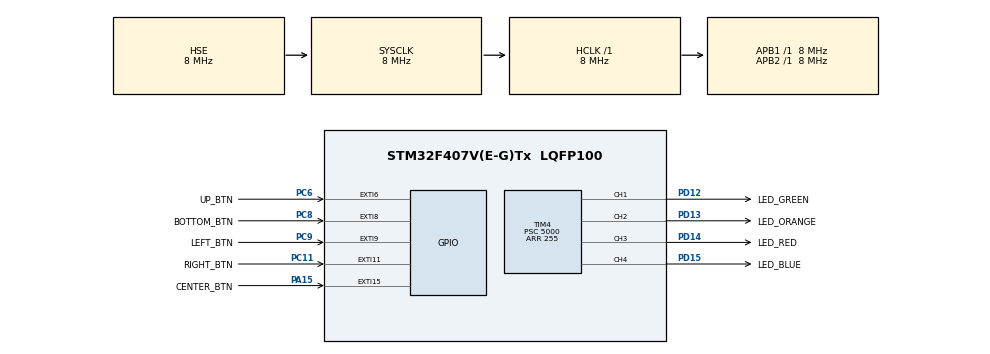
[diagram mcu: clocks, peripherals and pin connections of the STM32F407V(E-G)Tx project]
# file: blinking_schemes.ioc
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Mcu.Family=STM32F4
Mcu.Name=STM32F407V(E-G)Tx
Mcu.Package=LQFP100
NVIC.EXTI15_10_IRQn=true\:0\:0\:false\:false\:true\:true\:true\:true
NVIC.EXTI9_5_IRQn=true\:0\:0\:false\:false\:true\:true\:true\:true
NVIC.PriorityGroup=NVIC_PRIORITYGROUP_4
NVIC.TIM4_IRQn=true\:0\:0\:false\:false\:true\:true\:true\:true
PA15.GPIO_Label=CENTER_BTN
PA15.GPIO_ModeDefaultEXTI=GPIO_MODE_IT_FALLING
PA15.Signal=GPXTI15
PC11.GPIO_Label=RIGHT_BTN
PC11.GPIO_ModeDefaultEXTI=GPIO_MODE_IT_FALLING
PC11.Signal=GPXTI11
PC6.GPIO_Label=UP_BTN
PC6.GPIO_ModeDefaultEXTI=GPIO_MODE_IT_FALLING
PC6.Signal=GPXTI6
PC8.GPIO_Label=BOTTOM_BTN
PC8.GPIO_ModeDefaultEXTI=GPIO_MODE_IT_FALLING
PC8.Signal=GPXTI8
PC9.GPIO_Label=LEFT_BTN
PC9.GPIO_ModeDefaultEXTI=GPIO_MODE_IT_FALLING
PC9.Signal=GPXTI9
PD12.GPIO_Label=LED_GREEN
PD12.Signal=S_TIM4_CH1
PD13.GPIO_Label=LED_ORANGE
PD13.Signal=S_TIM4_CH2
PD14.GPIO_Label=LED_RED
PD14.Signal=S_TIM4_CH3
PD15.GPIO_Label=LED_BLUE
PD15.Signal=S_TIM4_CH4
PH0-OSC_IN.Mode=HSE-External-Oscillator
PH0-OSC_IN.Signal=RCC_OSC_IN
PH1-OSC_OUT.Mode=HSE-External-Oscillator
PH1-OSC_OUT.Signal=RCC_OSC_OUT
ProjectManager.HeapSize=0x200
ProjectManager.StackSize=0x400
ProjectManager.TargetToolchain=STM32CubeIDE
RCC.48MHZClocksFreq_Value=24000000
RCC.AHBFreq_Value=8000000
RCC.APB1Freq_Value=8000000
RCC.APB1TimFreq_Value=8000000
RCC.APB2Freq_Value=8000000
RCC.APB2TimFreq_Value=8000000
RCC.CortexFreq_Value=8000000
RCC.HCLKFreq_Value=8000000
RCC.HSE_VALUE=8000000
RCC.HSI_VALUE=16000000
RCC.LSE_VALUE=32768
RCC.PLLSourceVirtual=RCC_PLLSOURCE_HSE
RCC.SYSCLKFreq_VALUE=8000000
RCC.SYSCLKSource=RCC_SYSCLKSOURCE_HSE
RCC.VCOOutputFreq_Value=96000000
SH.S_TIM4_CH1.0=TIM4_CH1,PWM Generation1 CH1
SH.S_TIM4_CH2.0=TIM4_CH2,PWM Generation2 CH2
SH.S_TIM4_CH3.0=TIM4_CH3,PWM Generation3 CH3
SH.S_TIM4_CH4.0=TIM4_CH4,PWM Generation4 CH4
TIM4.Channel-PWM\ Generation1\ CH1=TIM_CHANNEL_1
TIM4.Channel-PWM\ Generation2\ CH2=TIM_CHANNEL_2
TIM4.Channel-PWM\ Generation3\ CH3=TIM_CHANNEL_3
TIM4.Channel-PWM\ Generation4\ CH4=TIM_CHANNEL_4
TIM4.Period=255
TIM4.Prescaler=5000
VP_TIM4_VS_ClockSourceINT.Mode=Internal
board=custom

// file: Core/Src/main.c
/* USER CODE BEGIN Header */
/**
  ******************************************************************************
  * @file           : main.c
  * @brief          : Main program body
  ******************************************************************************
  * @attention
  *
  * Copyright (c) 2023 STMicroelectronics.
  * All rights reserved.
  *
  * This software is licensed under terms that can be found in the LICENSE file
  * in the root directory of this software component.
  * If no LICENSE file comes with this software, it is provided AS-IS.
  *
  ******************************************************************************
  */
/* USER CODE END Header */
#include "main.h"

/* USER CODE BEGIN Includes */
int change = 0;
int mode = 4;
int duty = 100;
uint16_t del = 16000;
/* USER CODE END Includes */

/* USER CODE BEGIN PTD */
void round();
void divRound();
void doublePin();
/* USER CODE END PTD */

TIM_HandleTypeDef htim4;

void SystemClock_Config(void);
static void MX_GPIO_Init(void);
static void MX_TIM4_Init(void);

int main(void)
{

  /* MCU Configuration--------------------------------------------------------*/

  /* Reset of all peripherals, Initializes the Flash interface and the Systick. */
  HAL_Init();

  /* Configure the system clock */
  SystemClock_Config();

  /* Initialize all configured peripherals */
  MX_GPIO_Init();
  MX_TIM4_Init();

  /* Infinite loop */
  /* USER CODE BEGIN WHILE */
HAL_TIM_Base_Start_IT(&htim4);
HAL_TIM_PWM_Start(&htim4, TIM_CHANNEL_1);
TIM4->CCR1 = duty;
TIM4->CCR2 = duty;
TIM4->CCR3 = duty;
TIM4->CCR4 = duty;

  while (1)
  {
	if(change){
		change = 0;
		switch(mode){
			case 0:
				HAL_TIM_PWM_Start(&htim4, TIM_CHANNEL_1);
				HAL_TIM_PWM_Stop(&htim4, TIM_CHANNEL_2);
				HAL_TIM_PWM_Stop(&htim4, TIM_CHANNEL_3);
				HAL_TIM_PWM_Stop(&htim4, TIM_CHANNEL_4);
				break;
			case 1:
				HAL_TIM_PWM_Stop(&htim4, TIM_CHANNEL_1);
				HAL_TIM_PWM_Start(&htim4, TIM_CHANNEL_2);
				HAL_TIM_PWM_Stop(&htim4, TIM_CHANNEL_3);
				HAL_TIM_PWM_Stop(&htim4, TIM_CHANNEL_4);
				break;
			case 2:
				HAL_TIM_PWM_Stop(&htim4, TIM_CHANNEL_1);
				HAL_TIM_PWM_Stop(&htim4, TIM_CHANNEL_2);
				HAL_TIM_PWM_Start(&htim4, TIM_CHANNEL_3);
				HAL_TIM_PWM_Stop(&htim4, TIM_CHANNEL_4);
				break;
			case 3:
				HAL_TIM_PWM_Stop(&htim4, TIM_CHANNEL_1);
				HAL_TIM_PWM_Stop(&htim4, TIM_CHANNEL_2);
				HAL_TIM_PWM_Stop(&htim4, TIM_CHANNEL_3);
				HAL_TIM_PWM_Start(&htim4, TIM_CHANNEL_4);
				break;
			case 4:
				HAL_TIM_PWM_Stop(&htim4, TIM_CHANNEL_1);
				HAL_TIM_PWM_Stop(&htim4, TIM_CHANNEL_2);
				HAL_TIM_PWM_Stop(&htim4, TIM_CHANNEL_3);
				HAL_TIM_PWM_Stop(&htim4, TIM_CHANNEL_4);
				break;
		}
	}
    /* USER CODE END WHILE */

  }
}

void SystemClock_Config(void)
{
  RCC_OscInitTypeDef RCC_OscInitStruct = {0};
  RCC_ClkInitTypeDef RCC_ClkInitStruct = {0};

  /** Configure the main internal regulator output voltage
  */
  __HAL_RCC_PWR_CLK_ENABLE();
  __HAL_PWR_VOLTAGESCALING_CONFIG(PWR_REGULATOR_VOLTAGE_SCALE1);

  /** Initializes the RCC Oscillators according to the specified parameters
  * in the RCC_OscInitTypeDef structure.
  */
  RCC_OscInitStruct.OscillatorType = RCC_OSCILLATORTYPE_HSE;
  RCC_OscInitStruct.HSEState = RCC_HSE_ON;
  RCC_OscInitStruct.PLL.PLLState = RCC_PLL_NONE;
  if (HAL_RCC_OscConfig(&RCC_OscInitStruct) != HAL_OK)
  {
    Error_Handler();
  }

  /** Initializes the CPU, AHB and APB buses clocks
  */
  RCC_ClkInitStruct.ClockType = RCC_CLOCKTYPE_HCLK|RCC_CLOCKTYPE_SYSCLK
                              |RCC_CLOCKTYPE_PCLK1|RCC_CLOCKTYPE_PCLK2;
  RCC_ClkInitStruct.SYSCLKSource = RCC_SYSCLKSOURCE_HSE;
  RCC_ClkInitStruct.AHBCLKDivider = RCC_SYSCLK_DIV1;
  RCC_ClkInitStruct.APB1CLKDivider = RCC_HCLK_DIV1;
  RCC_ClkInitStruct.APB2CLKDivider = RCC_HCLK_DIV1;

  if (HAL_RCC_ClockConfig(&RCC_ClkInitStruct, FLASH_LATENCY_0) != HAL_OK)
  {
    Error_Handler();
  }
}

static void MX_TIM4_Init(void)
{

  TIM_ClockConfigTypeDef sClockSourceConfig = {0};
  TIM_MasterConfigTypeDef sMasterConfig = {0};
  TIM_OC_InitTypeDef sConfigOC = {0};

  htim4.Instance = TIM4;
  htim4.Init.Prescaler = 80;
  htim4.Init.CounterMode = TIM_COUNTERMODE_UP;
  htim4.Init.Period = 255;
  htim4.Init.ClockDivision = TIM_CLOCKDIVISION_DIV1;
  htim4.Init.AutoReloadPreload = TIM_AUTORELOAD_PRELOAD_DISABLE;
  if (HAL_TIM_Base_Init(&htim4) != HAL_OK)
  {
    Error_Handler();
  }
  sClockSourceConfig.ClockSource = TIM_CLOCKSOURCE_INTERNAL;
  if (HAL_TIM_ConfigClockSource(&htim4, &sClockSourceConfig) != HAL_OK)
  {
    Error_Handler();
  }
  if (HAL_TIM_PWM_Init(&htim4) != HAL_OK)
  {
    Error_Handler();
  }
  sMasterConfig.MasterOutputTrigger = TIM_TRGO_RESET;
  sMasterConfig.MasterSlaveMode = TIM_MASTERSLAVEMODE_DISABLE;
  if (HAL_TIMEx_MasterConfigSynchronization(&htim4, &sMasterConfig) != HAL_OK)
  {
    Error_Handler();
  }
  sConfigOC.OCMode = TIM_OCMODE_PWM1;
  sConfigOC.Pulse = 0;
  sConfigOC.OCPolarity = TIM_OCPOLARITY_HIGH;
  sConfigOC.OCFastMode = TIM_OCFAST_DISABLE;
  if (HAL_TIM_PWM_ConfigChannel(&htim4, &sConfigOC, TIM_CHANNEL_1) != HAL_OK)
  {
    Error_Handler();
  }
  if (HAL_TIM_PWM_ConfigChannel(&htim4, &sConfigOC, TIM_CHANNEL_2) != HAL_OK)
  {
    Error_Handler();
  }
  if (HAL_TIM_PWM_ConfigChannel(&htim4, &sConfigOC, TIM_CHANNEL_3) != HAL_OK)
  {
    Error_Handler();
  }
  if (HAL_TIM_PWM_ConfigChannel(&htim4, &sConfigOC, TIM_CHANNEL_4) != HAL_OK)
  {
    Error_Handler();
  }
  HAL_TIM_MspPostInit(&htim4);

}

static void MX_GPIO_Init(void)
{
  GPIO_InitTypeDef GPIO_InitStruct = {0};

  /* GPIO Ports Clock Enable */
  __HAL_RCC_GPIOH_CLK_ENABLE();
  __HAL_RCC_GPIOD_CLK_ENABLE();
  __HAL_RCC_GPIOC_CLK_ENABLE();
  __HAL_RCC_GPIOA_CLK_ENABLE();

  /*Configure GPIO pins : UP_BTN_Pin BOTTOM_BTN_Pin LEFT_BTN_Pin RIGHT_BTN_Pin */
  GPIO_InitStruct.Pin = UP_BTN_Pin|BOTTOM_BTN_Pin|LEFT_BTN_Pin|RIGHT_BTN_Pin;
  GPIO_InitStruct.Mode = GPIO_MODE_IT_FALLING;
  GPIO_InitStruct.Pull = GPIO_NOPULL;
  HAL_GPIO_Init(GPIOC, &GPIO_InitStruct);

  /*Configure GPIO pin : CENTER_BTN_Pin */
  GPIO_InitStruct.Pin = CENTER_BTN_Pin;
  GPIO_InitStruct.Mode = GPIO_MODE_IT_FALLING;
  GPIO_InitStruct.Pull = GPIO_NOPULL;
  HAL_GPIO_Init(CENTER_BTN_GPIO_Port, &GPIO_InitStruct);

  /* EXTI interrupt init*/
  HAL_NVIC_SetPriority(EXTI9_5_IRQn, 0, 0);
  HAL_NVIC_EnableIRQ(EXTI9_5_IRQn);

  HAL_NVIC_SetPriority(EXTI15_10_IRQn, 0, 0);
  HAL_NVIC_EnableIRQ(EXTI15_10_IRQn);

}

/* USER CODE BEGIN 4 */
void round(void){
	HAL_GPIO_WritePin(GPIOD, GPIO_PIN_15, SET);
	HAL_Delay(del);
	HAL_GPIO_WritePin(GPIOD, GPIO_PIN_15, RESET);
	HAL_GPIO_WritePin(GPIOD, GPIO_PIN_14, SET);
	HAL_Delay(del);
	HAL_GPIO_WritePin(GPIOD, GPIO_PIN_14, RESET);
	HAL_GPIO_WritePin(GPIOD, GPIO_PIN_13, SET);
	HAL_Delay(del);
	HAL_GPIO_WritePin(GPIOD, GPIO_PIN_13, RESET);
	HAL_GPIO_WritePin(GPIOD, GPIO_PIN_12, SET);
	HAL_Delay(del);
	HAL_GPIO_WritePin(GPIOD, GPIO_PIN_12, RESET);
}

void divRound(void){
	HAL_GPIO_WritePin(GPIOD, GPIO_PIN_12, SET);
	HAL_Delay(del);
	HAL_GPIO_WritePin(GPIOD, GPIO_PIN_12, RESET);
	HAL_GPIO_WritePin(GPIOD, GPIO_PIN_13, SET);
	HAL_Delay(del);
	HAL_GPIO_WritePin(GPIOD, GPIO_PIN_13, RESET);
	HAL_GPIO_WritePin(GPIOD, GPIO_PIN_14, SET);
	HAL_Delay(del);
	HAL_GPIO_WritePin(GPIOD, GPIO_PIN_14, RESET);
	HAL_GPIO_WritePin(GPIOD, GPIO_PIN_15, SET);
	HAL_Delay(del);
	HAL_GPIO_WritePin(GPIOD, GPIO_PIN_15, RESET);
}
void doublePin(void){
	HAL_GPIO_WritePin(GPIOD, GPIO_PIN_12, SET);
	HAL_GPIO_WritePin(GPIOD, GPIO_PIN_14, SET);
	HAL_GPIO_WritePin(GPIOD, GPIO_PIN_13, RESET);
	HAL_GPIO_WritePin(GPIOD, GPIO_PIN_15, RESET);
	HAL_Delay(del);
	HAL_GPIO_WritePin(GPIOD, GPIO_PIN_13, SET);
	HAL_GPIO_WritePin(GPIOD, GPIO_PIN_15, SET);
	HAL_GPIO_WritePin(GPIOD, GPIO_PIN_12, RESET);
	HAL_GPIO_WritePin(GPIOD, GPIO_PIN_14, RESET);
	HAL_Delay(del);
}
/* USER CODE END 4 */

void Error_Handler(void)
{
  __disable_irq();
  while (1)
  {
  }
}
